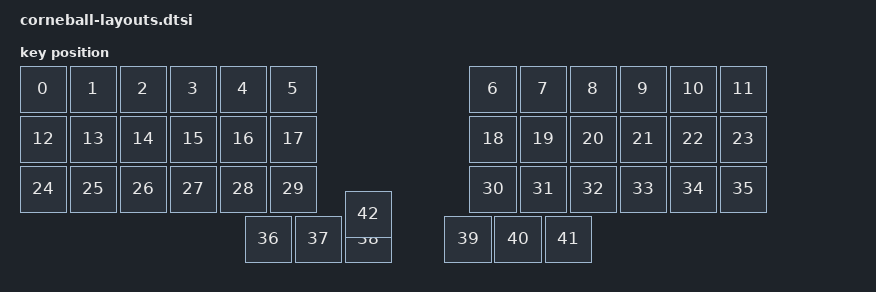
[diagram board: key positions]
#include <physical_layouts.dtsi>

/ {
    default_layout: default_layout {
        compatible = "zmk,physical-layout";
        transform = <&default_transform>;
        display-name = "Default Layout";

        keys  //                     w   h    x    y     rot    rx    ry
            = <&key_physical_attrs 100 100    0    0       0     0     0>
            , <&key_physical_attrs 100 100  100    0       0     0     0>
            , <&key_physical_attrs 100 100  200    0       0     0     0>
            , <&key_physical_attrs 100 100  300    0       0     0     0>
            , <&key_physical_attrs 100 100  400    0       0     0     0>
            , <&key_physical_attrs 100 100  500    0       0     0     0>

            , <&key_physical_attrs 100 100  900    0       0     0     0>
            , <&key_physical_attrs 100 100 1000    0       0     0     0>
            , <&key_physical_attrs 100 100 1100    0       0     0     0>
            , <&key_physical_attrs 100 100 1200    0       0     0     0>
            , <&key_physical_attrs 100 100 1300    0       0     0     0>
            , <&key_physical_attrs 100 100 1400    0       0     0     0>

            , <&key_physical_attrs 100 100    0  100       0     0     0>
            , <&key_physical_attrs 100 100  100  100       0     0     0>
            , <&key_physical_attrs 100 100  200  100       0     0     0>
            , <&key_physical_attrs 100 100  300  100       0     0     0>
            , <&key_physical_attrs 100 100  400  100       0     0     0>
            , <&key_physical_attrs 100 100  500  100       0     0     0>
            
            , <&key_physical_attrs 100 100  900  100       0     0     0>
            , <&key_physical_attrs 100 100 1000  100       0     0     0>
            , <&key_physical_attrs 100 100 1100  100       0     0     0>
            , <&key_physical_attrs 100 100 1200  100       0     0     0>
            , <&key_physical_attrs 100 100 1300  100       0     0     0>
            , <&key_physical_attrs 100 100 1400  100       0     0     0>

            , <&key_physical_attrs 100 100    0  200       0     0     0>
            , <&key_physical_attrs 100 100  100  200       0     0     0>
            , <&key_physical_attrs 100 100  200  200       0     0     0>
            , <&key_physical_attrs 100 100  300  200       0     0     0>
            , <&key_physical_attrs 100 100  400  200       0     0     0>
            , <&key_physical_attrs 100 100  500  200       0     0     0>
            
            , <&key_physical_attrs 100 100  900  200       0     0     0>
            , <&key_physical_attrs 100 100 1000  200       0     0     0>
            , <&key_physical_attrs 100 100 1100  200       0     0     0>
            , <&key_physical_attrs 100 100 1200  200       0     0     0>
            , <&key_physical_attrs 100 100 1300  200       0     0     0>
            , <&key_physical_attrs 100 100 1400  200       0     0     0>

            , <&key_physical_attrs 100 100  450  300       0     0     0>
            , <&key_physical_attrs 100 100  550  300       0     0     0>
            , <&key_physical_attrs 100 100  650  300       0     0     0>

            , <&key_physical_attrs 100 100  850  300       0     0     0>
            , <&key_physical_attrs 100 100  950  300       0     0     0>
            , <&key_physical_attrs 100 100 1050  300       0     0     0>


            , <&key_physical_attrs 100 100 650  250       0     0     0>
            ;
    };
};
